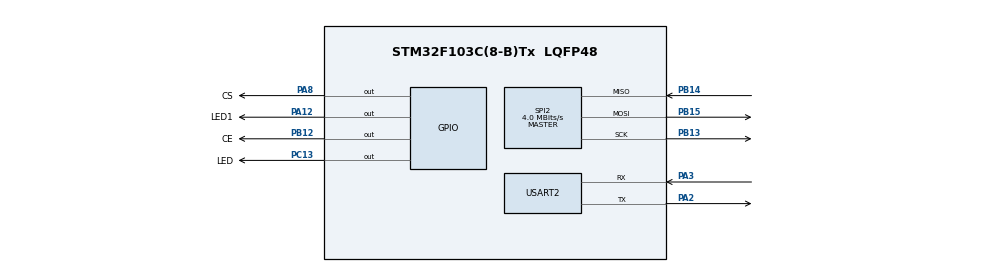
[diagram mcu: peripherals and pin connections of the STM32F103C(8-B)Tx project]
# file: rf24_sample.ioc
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Mcu.Family=STM32F1
Mcu.Name=STM32F103C(8-B)Tx
Mcu.Package=LQFP48
NVIC.PriorityGroup=NVIC_PRIORITYGROUP_4
PA12.GPIO_Label=LED1
PA12.Signal=GPIO_Output
PA13.Mode=Serial_Wire
PA13.Signal=SYS_JTMS-SWDIO
PA14.Mode=Serial_Wire
PA14.Signal=SYS_JTCK-SWCLK
PA2.Mode=Asynchronous
PA2.Signal=USART2_TX
PA3.Mode=Asynchronous
PA3.Signal=USART2_RX
PA8.GPIO_Label=CS
PA8.Signal=GPIO_Output
PB12.GPIO_Label=CE
PB12.Signal=GPIO_Output
PB13.Mode=Full_Duplex_Master
PB13.Signal=SPI2_SCK
PB14.Mode=Full_Duplex_Master
PB14.Signal=SPI2_MISO
PB15.Mode=Full_Duplex_Master
PB15.Signal=SPI2_MOSI
PC13-TAMPER-RTC.GPIO_Label=LED
PC13-TAMPER-RTC.Signal=GPIO_Output
PC14-OSC32_IN.Mode=LSE-External-Oscillator
PC14-OSC32_IN.Signal=RCC_OSC32_IN
PC15-OSC32_OUT.Mode=LSE-External-Oscillator
PC15-OSC32_OUT.Signal=RCC_OSC32_OUT
PD0-OSC_IN.Mode=HSE-External-Oscillator
PD0-OSC_IN.Signal=RCC_OSC_IN
PD1-OSC_OUT.Mode=HSE-External-Oscillator
PD1-OSC_OUT.Signal=RCC_OSC_OUT
ProjectManager.HeapSize=0x200
ProjectManager.StackSize=0x400
ProjectManager.TargetToolchain=STM32CubeIDE
RCC.APB1Freq_Value=8000000
RCC.APB2Freq_Value=8000000
SPI2.CalculateBaudRate=4.0 MBits/s
SPI2.Direction=SPI_DIRECTION_2LINES
SPI2.Mode=SPI_MODE_MASTER
SPI2.VirtualType=VM_MASTER
USART2.VirtualMode=VM_ASYNC
board=custom

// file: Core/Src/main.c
/* USER CODE BEGIN Header */
/**
  ******************************************************************************
  * @file           : main.c
  * @brief          : Main program body
  ******************************************************************************
  * @attention
  *
  * Copyright (c) 2026 STMicroelectronics.
  * All rights reserved.
  *
  * This software is licensed under terms that can be found in the LICENSE file
  * in the root directory of this software component.
  * If no LICENSE file comes with this software, it is provided AS-IS.
  *
  ******************************************************************************
  */
/* USER CODE END Header */
#include "main.h"

/* USER CODE BEGIN Includes */
#include "lib.h"
#include <stdio.h>
#include "string.h"
/* USER CODE END Includes */

SPI_HandleTypeDef hspi2;

UART_HandleTypeDef huart2;

void SystemClock_Config(void);
static void MX_GPIO_Init(void);
static void MX_SPI2_Init(void);
static void MX_USART2_UART_Init(void);

/* USER CODE BEGIN 0 */

//#define TX_MODE
#define RX_MODE
uint8_t address[] = {0xEE,0xDD,0xCC,0xBB,0xAA};
uint8_t TxData[] = "Hello World\n";
uint8_t rx_buffer[32];
uint8_t data[50];

int _write(int file, char *ptr, int len)
{
  HAL_UART_Transmit(&huart2, (uint8_t*)ptr, len, HAL_MAX_DELAY);
  return len;
}

static void rf24_print_config(void)
{
  printf("=== nRF24 config ===\r\n");
  for (int i = 0; i < 10; i++) {
    printf("REG[0x%02X]=0x%02X\r\n", i, data[i]);
  }

  printf("RX_ADDR_P0: %02X %02X %02X %02X %02X\r\n", data[10], data[11], data[12], data[13], data[14]);
  printf("RX_ADDR_P1: %02X %02X %02X %02X %02X\r\n", data[15], data[16], data[17], data[18], data[19]);
  printf("RX_ADDR_P2: 0x%02X\r\n", data[20]);
  printf("RX_ADDR_P3: 0x%02X\r\n", data[21]);
  printf("RX_ADDR_P4: 0x%02X\r\n", data[22]);
  printf("RX_ADDR_P5: 0x%02X\r\n", data[23]);
  printf("TX_ADDR   : %02X %02X %02X %02X %02X\r\n", data[24], data[25], data[26], data[27], data[28]);

  for (int i = 29; i < 38; i++) {
    printf("REG[0x%02X]=0x%02X\r\n", i - 12, data[i]);
  }
  printf("====================\r\n");
}

/* USER CODE END 0 */

int main(void)
{

  /* MCU Configuration--------------------------------------------------------*/

  /* Reset of all peripherals, Initializes the Flash interface and the Systick. */
  HAL_Init();

  /* Configure the system clock */
  SystemClock_Config();

  /* Initialize all configured peripherals */
  MX_GPIO_Init();
  MX_SPI2_Init();
  MX_USART2_UART_Init();
  /* USER CODE BEGIN 2 */

  rf24_init();
#ifdef TX_MODE
  rf24_tx_mode(address, 12);
#elif defined(RX_MODE)
  rf24_rx_mode(address, 12);
#endif
 rf24_read_all(data);
 rf24_print_config();
  /* USER CODE END 2 */

  /* Infinite loop */
  while (1)
  {

    /* USER CODE BEGIN 3 */
    #ifdef TX_MODE

      if(rf24_transmit(TxData) != 0) {
        printf("Data: %s\r\n", TxData);
        HAL_GPIO_TogglePin(LED1_GPIO_Port, LED1_Pin);
        HAL_GPIO_TogglePin(LED_GPIO_Port, LED_Pin);
      }
      HAL_Delay(500);

    #elif defined(RX_MODE)
      if (is_data_available(1) != 0) {
        rf24_receive(rx_buffer);
        rx_buffer[PAYLOAD_MAX - 1] = '\0';
        printf("RX: %s\r\n", rx_buffer);
        HAL_GPIO_TogglePin(LED1_GPIO_Port, LED1_Pin);
        HAL_GPIO_TogglePin(LED_GPIO_Port, LED_Pin);
      }
    #endif
  }
  /* USER CODE END 3 */
}

void SystemClock_Config(void)
{
  RCC_OscInitTypeDef RCC_OscInitStruct = {0};
  RCC_ClkInitTypeDef RCC_ClkInitStruct = {0};

  /** Initializes the RCC Oscillators according to the specified parameters
  * in the RCC_OscInitTypeDef structure.
  */
  RCC_OscInitStruct.OscillatorType = RCC_OSCILLATORTYPE_HSI;
  RCC_OscInitStruct.HSIState = RCC_HSI_ON;
  RCC_OscInitStruct.HSICalibrationValue = RCC_HSICALIBRATION_DEFAULT;
  RCC_OscInitStruct.PLL.PLLState = RCC_PLL_NONE;
  if (HAL_RCC_OscConfig(&RCC_OscInitStruct) != HAL_OK)
  {
    Error_Handler();
  }

  /** Initializes the CPU, AHB and APB buses clocks
  */
  RCC_ClkInitStruct.ClockType = RCC_CLOCKTYPE_HCLK|RCC_CLOCKTYPE_SYSCLK
                              |RCC_CLOCKTYPE_PCLK1|RCC_CLOCKTYPE_PCLK2;
  RCC_ClkInitStruct.SYSCLKSource = RCC_SYSCLKSOURCE_HSI;
  RCC_ClkInitStruct.AHBCLKDivider = RCC_SYSCLK_DIV1;
  RCC_ClkInitStruct.APB1CLKDivider = RCC_HCLK_DIV1;
  RCC_ClkInitStruct.APB2CLKDivider = RCC_HCLK_DIV1;

  if (HAL_RCC_ClockConfig(&RCC_ClkInitStruct, FLASH_LATENCY_0) != HAL_OK)
  {
    Error_Handler();
  }
}

static void MX_SPI2_Init(void)
{

  /* SPI2 parameter configuration*/
  hspi2.Instance = SPI2;
  hspi2.Init.Mode = SPI_MODE_MASTER;
  hspi2.Init.Direction = SPI_DIRECTION_2LINES;
  hspi2.Init.DataSize = SPI_DATASIZE_8BIT;
  hspi2.Init.CLKPolarity = SPI_POLARITY_LOW;
  hspi2.Init.CLKPhase = SPI_PHASE_1EDGE;
  hspi2.Init.NSS = SPI_NSS_SOFT;
  hspi2.Init.BaudRatePrescaler = SPI_BAUDRATEPRESCALER_2;
  hspi2.Init.FirstBit = SPI_FIRSTBIT_MSB;
  hspi2.Init.TIMode = SPI_TIMODE_DISABLE;
  hspi2.Init.CRCCalculation = SPI_CRCCALCULATION_DISABLE;
  hspi2.Init.CRCPolynomial = 10;
  if (HAL_SPI_Init(&hspi2) != HAL_OK)
  {
    Error_Handler();
  }

}

static void MX_USART2_UART_Init(void)
{

  huart2.Instance = USART2;
  huart2.Init.BaudRate = 115200;
  huart2.Init.WordLength = UART_WORDLENGTH_8B;
  huart2.Init.StopBits = UART_STOPBITS_1;
  huart2.Init.Parity = UART_PARITY_NONE;
  huart2.Init.Mode = UART_MODE_TX_RX;
  huart2.Init.HwFlowCtl = UART_HWCONTROL_NONE;
  huart2.Init.OverSampling = UART_OVERSAMPLING_16;
  if (HAL_UART_Init(&huart2) != HAL_OK)
  {
    Error_Handler();
  }

}

static void MX_GPIO_Init(void)
{
  GPIO_InitTypeDef GPIO_InitStruct = {0};

  /* GPIO Ports Clock Enable */
  __HAL_RCC_GPIOC_CLK_ENABLE();
  __HAL_RCC_GPIOD_CLK_ENABLE();
  __HAL_RCC_GPIOA_CLK_ENABLE();
  __HAL_RCC_GPIOB_CLK_ENABLE();

  /*Configure GPIO pin Output Level */
  HAL_GPIO_WritePin(LED_GPIO_Port, LED_Pin, GPIO_PIN_RESET);

  /*Configure GPIO pin Output Level */
  HAL_GPIO_WritePin(CE_GPIO_Port, CE_Pin, GPIO_PIN_RESET);

  /*Configure GPIO pin Output Level */
  HAL_GPIO_WritePin(GPIOA, CS_Pin|LED1_Pin, GPIO_PIN_RESET);

  /*Configure GPIO pin : LED_Pin */
  GPIO_InitStruct.Pin = LED_Pin;
  GPIO_InitStruct.Mode = GPIO_MODE_OUTPUT_PP;
  GPIO_InitStruct.Pull = GPIO_NOPULL;
  GPIO_InitStruct.Speed = GPIO_SPEED_FREQ_LOW;
  HAL_GPIO_Init(LED_GPIO_Port, &GPIO_InitStruct);

  /*Configure GPIO pin : CE_Pin */
  GPIO_InitStruct.Pin = CE_Pin;
  GPIO_InitStruct.Mode = GPIO_MODE_OUTPUT_PP;
  GPIO_InitStruct.Pull = GPIO_NOPULL;
  GPIO_InitStruct.Speed = GPIO_SPEED_FREQ_LOW;
  HAL_GPIO_Init(CE_GPIO_Port, &GPIO_InitStruct);

  /*Configure GPIO pins : CS_Pin LED1_Pin */
  GPIO_InitStruct.Pin = CS_Pin|LED1_Pin;
  GPIO_InitStruct.Mode = GPIO_MODE_OUTPUT_PP;
  GPIO_InitStruct.Pull = GPIO_NOPULL;
  GPIO_InitStruct.Speed = GPIO_SPEED_FREQ_LOW;
  HAL_GPIO_Init(GPIOA, &GPIO_InitStruct);

}

void Error_Handler(void)
{
  __disable_irq();
  while (1)
  {
  }
}
